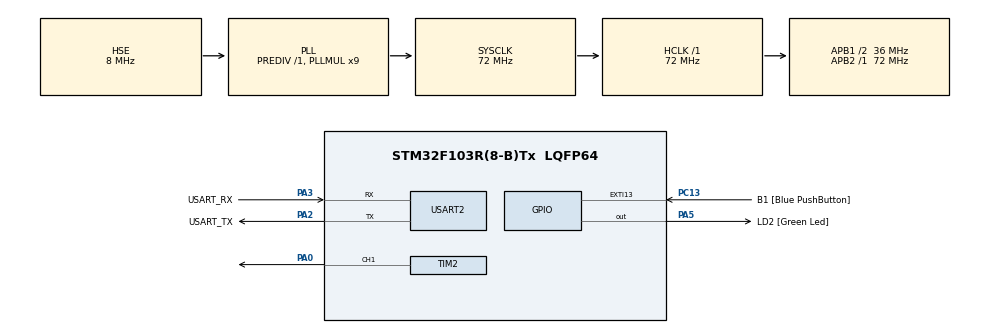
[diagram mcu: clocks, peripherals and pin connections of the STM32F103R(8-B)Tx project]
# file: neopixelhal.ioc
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Dma.Request0=TIM2_CH1
Dma.TIM2_CH1.0.Direction=DMA_MEMORY_TO_PERIPH
Dma.TIM2_CH1.0.Instance=DMA1_Channel5
Dma.TIM2_CH1.0.MemDataAlignment=DMA_MDATAALIGN_HALFWORD
Dma.TIM2_CH1.0.MemInc=DMA_MINC_ENABLE
Dma.TIM2_CH1.0.Mode=DMA_CIRCULAR
Dma.TIM2_CH1.0.PeriphDataAlignment=DMA_PDATAALIGN_HALFWORD
Dma.TIM2_CH1.0.PeriphInc=DMA_PINC_DISABLE
Dma.TIM2_CH1.0.Priority=DMA_PRIORITY_VERY_HIGH
Mcu.Family=STM32F1
Mcu.Name=STM32F103R(8-B)Tx
Mcu.Package=LQFP64
NVIC.DMA1_Channel5_IRQn=true\:0\:0\:false\:false\:true\:false\:true\:true
NVIC.EXTI15_10_IRQn=true\:0\:0\:false\:false\:true\:true\:true\:true
NVIC.PriorityGroup=NVIC_PRIORITYGROUP_4
PA0-WKUP.Signal=S_TIM2_CH1_ETR
PA13.GPIO_Label=TMS
PA13.Mode=Serial_Wire
PA13.Signal=SYS_JTMS-SWDIO
PA14.GPIO_Label=TCK
PA14.Mode=Serial_Wire
PA14.Signal=SYS_JTCK-SWCLK
PA2.GPIO_Label=USART_TX
PA2.GPIO_Mode=GPIO_MODE_AF_PP
PA2.GPIO_PuPd=GPIO_NOPULL
PA2.GPIO_Speed=GPIO_SPEED_FREQ_LOW
PA2.Mode=Asynchronous
PA2.Signal=USART2_TX
PA3.GPIO_Label=USART_RX
PA3.GPIO_Mode=GPIO_MODE_AF_PP
PA3.GPIO_PuPd=GPIO_NOPULL
PA3.GPIO_Speed=GPIO_SPEED_FREQ_LOW
PA3.Mode=Asynchronous
PA3.Signal=USART2_RX
PA5.GPIO_Label=LD2 [Green Led]
PA5.GPIO_ModeDefaultOutputPP=GPIO_MODE_OUTPUT_PP
PA5.GPIO_PuPd=GPIO_NOPULL
PA5.GPIO_Speed=GPIO_SPEED_FREQ_LOW
PA5.Signal=GPIO_Output
PB3.GPIO_Label=SWO
PB3.Signal=SYS_JTDO-TRACESWO
PC13-TAMPER-RTC.GPIO_Label=B1 [Blue PushButton]
PC13-TAMPER-RTC.GPIO_PuPd=GPIO_NOPULL
PC13-TAMPER-RTC.Signal=GPXTI13
PC14-OSC32_IN.Mode=LSE-External-Oscillator
PC14-OSC32_IN.Signal=RCC_OSC32_IN
PC15-OSC32_OUT.Mode=LSE-External-Oscillator
PC15-OSC32_OUT.Signal=RCC_OSC32_OUT
PD0-OSC_IN.Mode=HSE-External-Oscillator
PD0-OSC_IN.Signal=RCC_OSC_IN
PD1-OSC_OUT.Mode=HSE-External-Oscillator
PD1-OSC_OUT.Signal=RCC_OSC_OUT
ProjectManager.HeapSize=0x200
ProjectManager.StackSize=0x400
ProjectManager.TargetToolchain=STM32CubeIDE
RCC.AHBFreq_Value=72000000
RCC.APB1CLKDivider=RCC_HCLK_DIV2
RCC.APB1Freq_Value=36000000
RCC.APB1TimFreq_Value=72000000
RCC.APB2Freq_Value=72000000
RCC.APB2TimFreq_Value=72000000
RCC.HCLKFreq_Value=72000000
RCC.PLLMUL=RCC_PLL_MUL9
RCC.PLLSourceVirtual=RCC_PLLSOURCE_HSE
RCC.RTCClockSelection=RCC_RTCCLKSOURCE_LSE
RCC.SYSCLKFreq_VALUE=72000000
RCC.SYSCLKSource=RCC_SYSCLKSOURCE_PLLCLK
RCC.USBFreq_Value=72000000
SH.S_TIM2_CH1_ETR.0=TIM2_CH1,PWM Generation1 CH1
TIM2.Channel-PWM\ Generation1\ CH1=TIM_CHANNEL_1
TIM2.Period=89
TIM2.Pulse-PWM\ Generation1\ CH1=45
USART2.VirtualMode=VM_ASYNC
VP_TIM2_VS_ClockSourceINT.Mode=Internal
board=NUCLEO-F103RB

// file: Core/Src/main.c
/* USER CODE BEGIN Header */
/**
  ******************************************************************************
  * @file           : main.c
  * @brief          : Main program body
  ******************************************************************************
  * @attention
  *
  * Copyright (c) 2025 STMicroelectronics.
  * All rights reserved.
  *
  * This software is licensed under terms that can be found in the LICENSE file
  * in the root directory of this software component.
  * If no LICENSE file comes with this software, it is provided AS-IS.
  *
  ******************************************************************************
  */
/* USER CODE END Header */
#include "main.h"

/* USER CODE BEGIN PD */
#define BIT_0 30
#define BIT_1 60
#define MAX_LEDS 3
#define BITS_PER_LED 24  // 8 bits each for G, R, B
#define BUFSIZE (BITS_PER_LED * MAX_LEDS)
/* USER CODE END PD */

TIM_HandleTypeDef htim2;
DMA_HandleTypeDef hdma_tim2_ch1;

UART_HandleTypeDef huart2;

/* USER CODE BEGIN PV */
uint16_t LED_Buffer[BUFSIZE];
/* USER CODE END PV */

void SystemClock_Config(void);
static void MX_GPIO_Init(void);
static void MX_DMA_Init(void);
static void MX_USART2_UART_Init(void);
static void MX_TIM2_Init(void);
/* USER CODE BEGIN PFP */
void set_LED_color(uint8_t led, uint8_t red, uint8_t green, uint8_t blue);
/* USER CODE END PFP */

/* USER CODE BEGIN 0 */
void WS2812B_Send(void) {
  // Reset timer counter
  __HAL_TIM_SET_COUNTER(&htim2, 0);

  // Start DMA transfer
  HAL_TIM_PWM_Start_DMA(&htim2, TIM_CHANNEL_1, (uint32_t*)LED_Buffer, BUFSIZE);
}

/**
 * DMA transfer complete callback
 */
void HAL_TIM_PWM_PulseFinishedCallback(TIM_HandleTypeDef *htim) {
  // Stop PWM and DMA when transfer complete
  HAL_TIM_PWM_Stop_DMA(htim, TIM_CHANNEL_1);
}
/* USER CODE END 0 */

int main(void)
{

  /* MCU Configuration--------------------------------------------------------*/

  /* Reset of all peripherals, Initializes the Flash interface and the Systick. */
  HAL_Init();

  /* Configure the system clock */
  SystemClock_Config();

  /* Initialize all configured peripherals */
  MX_GPIO_Init();
  MX_DMA_Init();
  MX_USART2_UART_Init();
  MX_TIM2_Init();

  /* Infinite loop */
  /* USER CODE BEGIN WHILE */
  while (1)
  {
	  set_LED_color(0, 255, 0, 0);   // Red
	     set_LED_color(1, 0, 255, 0);   // Green
	     set_LED_color(2, 0, 0, 255);   // Blue

	     // Send data to LEDs
	     WS2812B_Send();

	     // Wait for transmission to complete (handled by callback)
	     HAL_Delay(1000);

	     // Change colors
	     set_LED_color(0, 255, 255, 0); // Yellow
	     set_LED_color(1, 0, 255, 255); // Cyan
	     set_LED_color(2, 255, 0, 255); // Magenta

	     // Send data to LEDs
	     WS2812B_Send();

	     HAL_Delay(1000);
    /* USER CODE END WHILE */

  }
}

void SystemClock_Config(void)
{
  RCC_OscInitTypeDef RCC_OscInitStruct = {0};
  RCC_ClkInitTypeDef RCC_ClkInitStruct = {0};

  /** Initializes the RCC Oscillators according to the specified parameters
  * in the RCC_OscInitTypeDef structure.
  */
  RCC_OscInitStruct.OscillatorType = RCC_OSCILLATORTYPE_HSE;
  RCC_OscInitStruct.HSEState = RCC_HSE_ON;
  RCC_OscInitStruct.HSEPredivValue = RCC_HSE_PREDIV_DIV1;
  RCC_OscInitStruct.HSIState = RCC_HSI_ON;
  RCC_OscInitStruct.PLL.PLLState = RCC_PLL_ON;
  RCC_OscInitStruct.PLL.PLLSource = RCC_PLLSOURCE_HSE;
  RCC_OscInitStruct.PLL.PLLMUL = RCC_PLL_MUL9;
  if (HAL_RCC_OscConfig(&RCC_OscInitStruct) != HAL_OK)
  {
    Error_Handler();
  }

  /** Initializes the CPU, AHB and APB buses clocks
  */
  RCC_ClkInitStruct.ClockType = RCC_CLOCKTYPE_HCLK|RCC_CLOCKTYPE_SYSCLK
                              |RCC_CLOCKTYPE_PCLK1|RCC_CLOCKTYPE_PCLK2;
  RCC_ClkInitStruct.SYSCLKSource = RCC_SYSCLKSOURCE_PLLCLK;
  RCC_ClkInitStruct.AHBCLKDivider = RCC_SYSCLK_DIV1;
  RCC_ClkInitStruct.APB1CLKDivider = RCC_HCLK_DIV2;
  RCC_ClkInitStruct.APB2CLKDivider = RCC_HCLK_DIV1;

  if (HAL_RCC_ClockConfig(&RCC_ClkInitStruct, FLASH_LATENCY_2) != HAL_OK)
  {
    Error_Handler();
  }
}

static void MX_TIM2_Init(void)
{

  TIM_ClockConfigTypeDef sClockSourceConfig = {0};
  TIM_MasterConfigTypeDef sMasterConfig = {0};
  TIM_OC_InitTypeDef sConfigOC = {0};

  htim2.Instance = TIM2;
  htim2.Init.Prescaler = 0;
  htim2.Init.CounterMode = TIM_COUNTERMODE_UP;
  htim2.Init.Period = 89;
  htim2.Init.ClockDivision = TIM_CLOCKDIVISION_DIV1;
  htim2.Init.AutoReloadPreload = TIM_AUTORELOAD_PRELOAD_DISABLE;
  if (HAL_TIM_Base_Init(&htim2) != HAL_OK)
  {
    Error_Handler();
  }
  sClockSourceConfig.ClockSource = TIM_CLOCKSOURCE_INTERNAL;
  if (HAL_TIM_ConfigClockSource(&htim2, &sClockSourceConfig) != HAL_OK)
  {
    Error_Handler();
  }
  if (HAL_TIM_PWM_Init(&htim2) != HAL_OK)
  {
    Error_Handler();
  }
  sMasterConfig.MasterOutputTrigger = TIM_TRGO_RESET;
  sMasterConfig.MasterSlaveMode = TIM_MASTERSLAVEMODE_DISABLE;
  if (HAL_TIMEx_MasterConfigSynchronization(&htim2, &sMasterConfig) != HAL_OK)
  {
    Error_Handler();
  }
  sConfigOC.OCMode = TIM_OCMODE_PWM1;
  sConfigOC.Pulse = 45;
  sConfigOC.OCPolarity = TIM_OCPOLARITY_HIGH;
  sConfigOC.OCFastMode = TIM_OCFAST_DISABLE;
  if (HAL_TIM_PWM_ConfigChannel(&htim2, &sConfigOC, TIM_CHANNEL_1) != HAL_OK)
  {
    Error_Handler();
  }
  HAL_TIM_MspPostInit(&htim2);

}

static void MX_USART2_UART_Init(void)
{

  huart2.Instance = USART2;
  huart2.Init.BaudRate = 115200;
  huart2.Init.WordLength = UART_WORDLENGTH_8B;
  huart2.Init.StopBits = UART_STOPBITS_1;
  huart2.Init.Parity = UART_PARITY_NONE;
  huart2.Init.Mode = UART_MODE_TX_RX;
  huart2.Init.HwFlowCtl = UART_HWCONTROL_NONE;
  huart2.Init.OverSampling = UART_OVERSAMPLING_16;
  if (HAL_UART_Init(&huart2) != HAL_OK)
  {
    Error_Handler();
  }

}

static void MX_DMA_Init(void)
{

  /* DMA controller clock enable */
  __HAL_RCC_DMA1_CLK_ENABLE();

  /* DMA interrupt init */
  /* DMA1_Channel5_IRQn interrupt configuration */
  HAL_NVIC_SetPriority(DMA1_Channel5_IRQn, 0, 0);
  HAL_NVIC_EnableIRQ(DMA1_Channel5_IRQn);

}

static void MX_GPIO_Init(void)
{
  GPIO_InitTypeDef GPIO_InitStruct = {0};

  /* GPIO Ports Clock Enable */
  __HAL_RCC_GPIOC_CLK_ENABLE();
  __HAL_RCC_GPIOD_CLK_ENABLE();
  __HAL_RCC_GPIOA_CLK_ENABLE();
  __HAL_RCC_GPIOB_CLK_ENABLE();

  /*Configure GPIO pin Output Level */
  HAL_GPIO_WritePin(LD2_GPIO_Port, LD2_Pin, GPIO_PIN_RESET);

  /*Configure GPIO pin : B1_Pin */
  GPIO_InitStruct.Pin = B1_Pin;
  GPIO_InitStruct.Mode = GPIO_MODE_IT_RISING;
  GPIO_InitStruct.Pull = GPIO_NOPULL;
  HAL_GPIO_Init(B1_GPIO_Port, &GPIO_InitStruct);

  /*Configure GPIO pin : LD2_Pin */
  GPIO_InitStruct.Pin = LD2_Pin;
  GPIO_InitStruct.Mode = GPIO_MODE_OUTPUT_PP;
  GPIO_InitStruct.Pull = GPIO_NOPULL;
  GPIO_InitStruct.Speed = GPIO_SPEED_FREQ_LOW;
  HAL_GPIO_Init(LD2_GPIO_Port, &GPIO_InitStruct);

  /* EXTI interrupt init*/
  HAL_NVIC_SetPriority(EXTI15_10_IRQn, 0, 0);
  HAL_NVIC_EnableIRQ(EXTI15_10_IRQn);

}

/* USER CODE BEGIN 4 */
void set_LED_color(uint8_t led, uint8_t red, uint8_t green, uint8_t blue) {
  if (led >= MAX_LEDS) return;

  uint32_t index = led * BITS_PER_LED;
  uint8_t i;

  // WS2812B expects GRB order
  for (i = 0; i < 8; i++) {
    LED_Buffer[index + i] = (green & (1 << (7 - i))) ? BIT_1 : BIT_0;
  }

  for (i = 0; i < 8; i++) {
    LED_Buffer[index + 8 + i] = (red & (1 << (7 - i))) ? BIT_1 : BIT_0;
  }

  for (i = 0; i < 8; i++) {
    LED_Buffer[index + 16 + i] = (blue & (1 << (7 - i))) ? BIT_1 : BIT_0;
  }
}
/* USER CODE END 4 */

void Error_Handler(void)
{
  __disable_irq();
  while (1)
  {
  }
}
